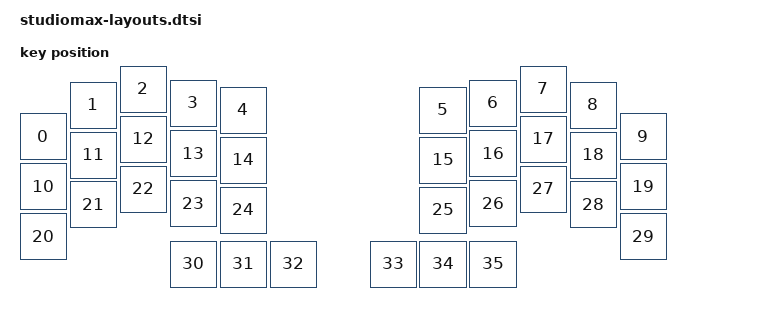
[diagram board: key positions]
#include <physical_layouts.dtsi>

/ {
    physical_layout_studiomax: physical_layout_studiomax {
        compatible = "zmk,physical-layout";
        display-name = "StudioMax";
        keys  //                     w   h    x    y     rot    rx    ry
            = <&key_physical_attrs 100 100    0   95       0     0    95>
            , <&key_physical_attrs 100 100  100   32       0   100    32>
            , <&key_physical_attrs 100 100  200    0       0   200     0>
            , <&key_physical_attrs 100 100  300   28       0   300    28>
            , <&key_physical_attrs 100 100  400   42       0   400    42>
            , <&key_physical_attrs  50  50    0(-50)       0     0 (-50)>
            , <&key_physical_attrs  50  50 1100(-50)       0  1100 (-50)>
            , <&key_physical_attrs 100 100  800   42       0   800    42>
            , <&key_physical_attrs 100 100  900   28       0   900    28>
            , <&key_physical_attrs 100 100 1000    0       0  1000     0>
            , <&key_physical_attrs 100 100 1100   32       0  1100    32>
            , <&key_physical_attrs 100 100 1200   95       0  1200    95>
            , <&key_physical_attrs 100 100    0  195       0     0   195>
            , <&key_physical_attrs 100 100  100  132       0   100   132>
            , <&key_physical_attrs 100 100  200  100       0   200   100>
            , <&key_physical_attrs 100 100  300  129       0   300   129>
            , <&key_physical_attrs 100 100  400  142       0   400   142>
            , <&key_physical_attrs  50  50   50(-50)       0    50 (-50)>
            , <&key_physical_attrs  50  50 1150(-50)       0  1150 (-50)>
            , <&key_physical_attrs 100 100  800  142       0   800   142>
            , <&key_physical_attrs 100 100  900  129       0   900   129>
            , <&key_physical_attrs 100 100 1000  100       0  1000   100>
            , <&key_physical_attrs 100 100 1100  132       0  1100   132>
            , <&key_physical_attrs 100 100 1200  195       0  1200   195>
            , <&key_physical_attrs 100 100    0  295       0     0   295>
            , <&key_physical_attrs 100 100  100  231       0   100   231>
            , <&key_physical_attrs 100 100  200  200       0   200   200>
            , <&key_physical_attrs 100 100  300  229       0   300   229>
            , <&key_physical_attrs 100 100  400  242       0   400   242>
            , <&key_physical_attrs  50  50  100(-50)       0   100 (-50)>
            , <&key_physical_attrs  50  50 1200(-50)       0  1200 (-50)>
            , <&key_physical_attrs 100 100  800  242       0   800   242>
            , <&key_physical_attrs 100 100  900  229       0   900   229>
            , <&key_physical_attrs 100 100 1000  200       0  1000   200>
            , <&key_physical_attrs 100 100 1100  231       0  1100   231>
            , <&key_physical_attrs 100 100 1200  295       0  1200   295>
            , <&key_physical_attrs 100 100  300  350       0   300   350>
            , <&key_physical_attrs 100 100  400  350       0   430   455>
            , <&key_physical_attrs 100 100  500  350       0   430   455>
            , <&key_physical_attrs  50  50  150(-50)       0   150 (-50)>
            , <&key_physical_attrs  50  50 1250(-50)       0  1250 (-50)>
            , <&key_physical_attrs 100 100  700  350       0   770   455>
            , <&key_physical_attrs 100 100  800  350       0   770   455>
            , <&key_physical_attrs 100 100  900  350       0   900   350>
            ;
    };
};
